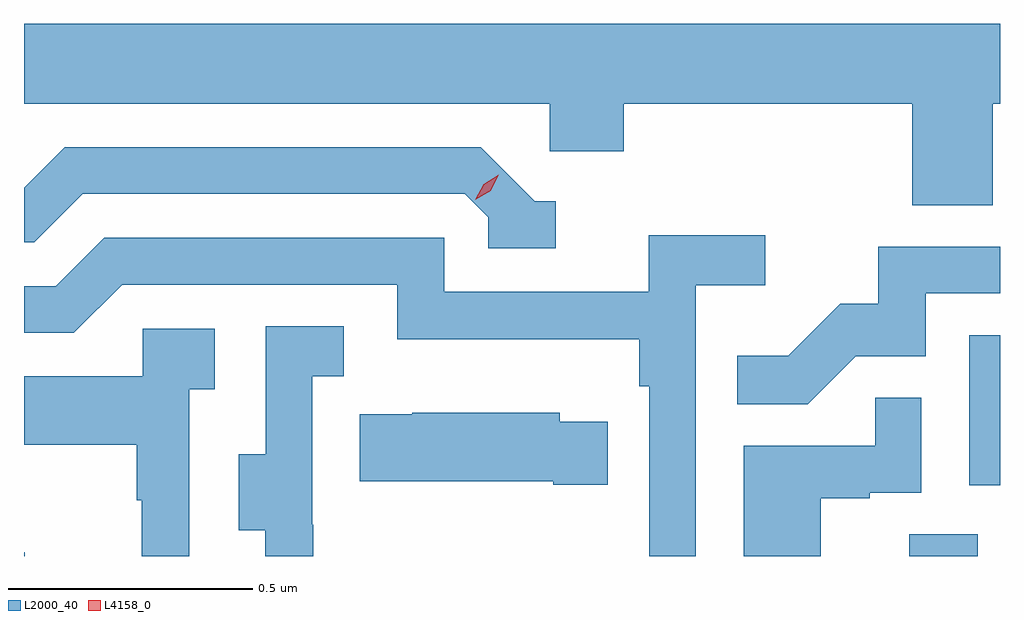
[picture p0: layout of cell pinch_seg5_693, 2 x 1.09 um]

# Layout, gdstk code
import gdstk
lib = gdstk.Library(unit=1e-6, precision=1e-09)
def R(c, l, rs):  # rectangles x0, y0, x1, y1
    for r in rs: c.add(gdstk.rectangle(r[:2], r[2:], *l))
def P(c, l, *ps):  # polygons
    for p in ps: c.add(gdstk.Polygon(p, *l))
L2000_40 = (2000, 40)
L4158_0 = (4158, 0)

pinch_seg5_693 = lib.new_cell('pinch_seg5_693')
R(pinch_seg5_693, L2000_40, [(1093.605,849.172,1093.607,849.181), (1095.419,849.172,1095.559,849.218), (1095.542,849.318,1095.605,849.625)])
P(pinch_seg5_693, L2000_40, [(1095.59,850.1),(1095.605,850.1),(1095.605,850.264),(1093.605,850.264),(1093.605,850.1),(1094.682,850.1),(1094.682,850.002),(1094.834,850.002),(1094.834,850.1),(1095.425,850.1),(1095.425,849.892),(1095.59,849.892)],
  [(1094.695,849.9),(1094.652,849.9),(1094.541,850.011),(1093.688,850.011),(1093.605,849.928),(1093.605,849.816),(1093.626,849.816),(1093.725,849.915),(1094.508,849.915),(1094.556,849.867),(1094.556,849.804),(1094.695,849.804)],
  [(1094.982,849.728),(1095.124,849.728),(1095.124,849.83),(1094.885,849.83),(1094.885,849.714),(1094.466,849.714),(1094.466,849.825),(1093.769,849.825),(1093.67,849.726),(1093.605,849.726),(1093.605,849.63),(1093.707,849.63),(1093.806,849.729),(1094.37,849.729),(1094.37,849.617),(1094.866,849.617),(1094.866,849.521),(1094.886,849.521),(1094.886,849.172),(1094.982,849.172)],
  [(1095.309,849.582),(1095.453,849.582),(1095.453,849.711),(1095.605,849.711),(1095.605,849.807),(1095.355,849.807),(1095.355,849.69),(1095.278,849.69),(1095.171,849.583),(1095.067,849.583),(1095.067,849.484),(1095.211,849.484)],
  [(1094.198,849.237),(1094.196,849.237),(1094.196,849.541),(1094.26,849.541),(1094.26,849.644),(1094.1,849.644),(1094.1,849.381),(1094.045,849.381),(1094.045,849.226),(1094.099,849.226),(1094.099,849.172),(1094.198,849.172)],
  [(1093.944,849.515),(1093.996,849.515),(1093.996,849.639),(1093.848,849.639),(1093.848,849.541),(1093.605,849.541),(1093.605,849.401),(1093.836,849.401),(1093.836,849.287),(1093.846,849.287),(1093.846,849.172),(1093.944,849.172)],
  [(1095.238,849.291),(1095.338,849.291),(1095.338,849.303),(1095.444,849.303),(1095.444,849.497),(1095.349,849.497),(1095.349,849.399),(1095.08,849.399),(1095.08,849.172),(1095.238,849.172)],
  [(1094.801,849.448),(1094.703,849.448),(1094.703,849.466),(1094.401,849.466),(1094.401,849.463),(1094.293,849.463),(1094.293,849.326),(1094.69,849.326),(1094.69,849.319),(1094.801,849.319)])
P(pinch_seg5_693, L4158_0, [(1094.53,849.903),(1094.53,849.903),(1094.547,849.935),(1094.578,849.954),(1094.578,849.954),(1094.578,849.954),(1094.561,849.921),(1094.53,849.903)])

lib.write_gds('pinch_seg5_693.gds')
